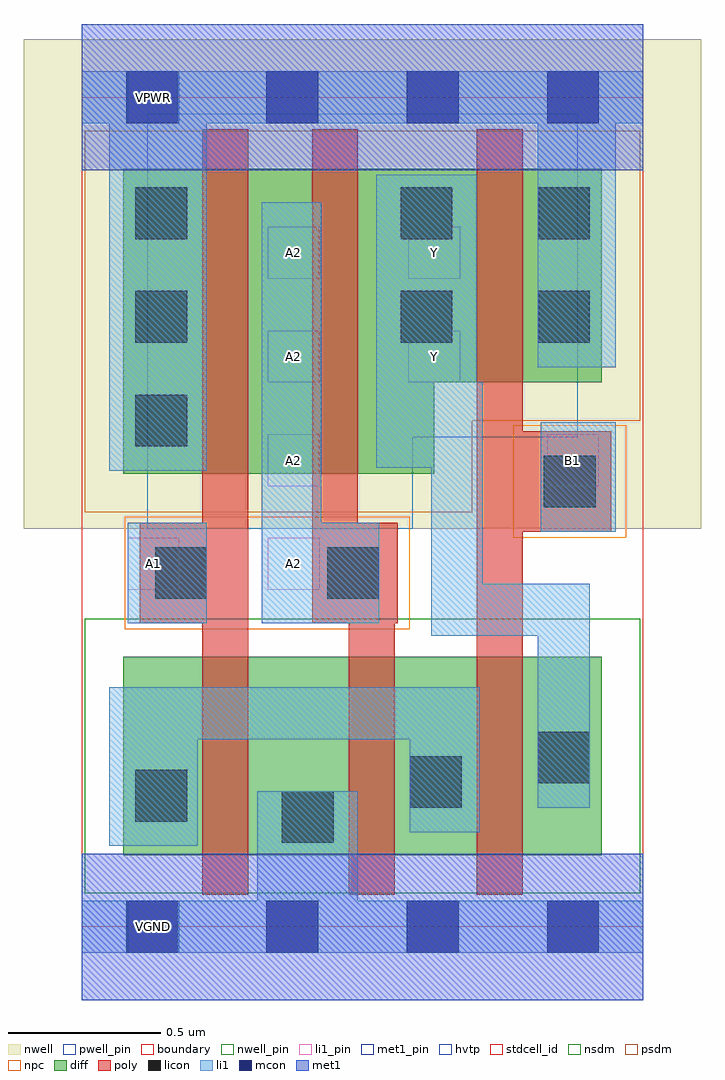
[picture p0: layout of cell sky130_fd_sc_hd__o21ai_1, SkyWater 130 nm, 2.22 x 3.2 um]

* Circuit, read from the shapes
.subckt sky130_fd_sc_hd__o21ai_1 A1 A2 B1 VGND VNB VPB VPWR Y
XM1 VGND A1 n1 VNB sky130_fd_pr__nfet_01v8 w=0.65 l=0.15
XM2 n1 A2 VGND VNB sky130_fd_pr__nfet_01v8 w=0.65 l=0.15
XM3 Y B1 n1 VNB sky130_fd_pr__nfet_01v8 w=0.65 l=0.15
XM4 n2 A1 VPWR VPB sky130_fd_pr__pfet_01v8_hvt w=1 l=0.15
XM5 Y A2 n2 VPB sky130_fd_pr__pfet_01v8_hvt w=1 l=0.15
XM6 VPWR B1 Y VPB sky130_fd_pr__pfet_01v8_hvt w=0.7 l=0.15
.ends

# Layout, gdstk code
import gdstk
lib = gdstk.Library(unit=1e-6, precision=1e-09)
def R(c, l, rs):  # rectangles x0, y0, x1, y1
    for r in rs: c.add(gdstk.rectangle(r[:2], r[2:], *l))
def A(c, l, x, y, w, h, nx, ny, dx, dy):  # array of equal rectangles
    R(c, l, [(x+i*dx, y+j*dy, x+i*dx+w, y+j*dy+h) for i in range(nx) for j in range(ny)])
nwell_pin = (64, 16)
nwell = (64, 20)
diff = (65, 20)
poly = (66, 20)
licon = (66, 44)
li1_pin = (67, 16)
li1 = (67, 20)
mcon = (67, 44)
met1_pin = (68, 16)
met1 = (68, 20)
hvtp = (78, 44)
stdcell_id = (81, 4)
nsdm = (93, 44)
psdm = (94, 20)
npc = (95, 20)
pwell_pin = (122, 16)
boundary = (235, 4)

sky130_fd_sc_hd__o21ai_1 = lib.new_cell('sky130_fd_sc_hd__o21ai_1')
R(sky130_fd_sc_hd__o21ai_1, nwell_pin, [(0.15,2.635,0.32,2.805)])
R(sky130_fd_sc_hd__o21ai_1, nwell, [(-0.19,1.305,2.03,2.91)])
R(sky130_fd_sc_hd__o21ai_1, diff, [(0.135,0.235,1.705,0.885), (0.135,1.485,1.155,1.785), (0.135,1.785,1.705,2.485)])
R(sky130_fd_sc_hd__o21ai_1, poly, [(0.395,0.105,0.545,0.995), (0.875,0.105,1.025,0.995), (1.295,0.105,1.445,1.295), (0.19,0.995,0.545,1.325), (0.755,0.995,1.035,1.325), (1.295,1.295,1.735,1.625), (0.395,1.325,0.545,2.615), (0.755,1.325,0.905,2.615), (1.295,1.625,1.445,2.615)])
A(sky130_fd_sc_hd__o21ai_1, licon, 0.175, 1.575, 0.17, 0.17, 1, 3, 0, 0.34)
R(sky130_fd_sc_hd__o21ai_1, licon, [(0.655,0.275,0.825,0.445), (0.175,0.345,0.345,0.515), (1.075,0.39,1.245,0.56), (1.495,0.47,1.665,0.64), (0.24,1.075,0.41,1.245), (0.805,1.075,0.975,1.245), (1.515,1.375,1.685,1.545), (1.045,1.915,1.215,2.085), (1.495,1.915,1.665,2.085), (1.045,2.255,1.215,2.425), (1.495,2.255,1.665,2.425)])
A(sky130_fd_sc_hd__o21ai_1, li1_pin, 0.61, 1.105, 0.17, 0.17, 1, 4, 0, 0.34)
R(sky130_fd_sc_hd__o21ai_1, li1_pin, [(0.15,1.105,0.32,1.275), (1.525,1.445,1.695,1.615), (1.07,1.785,1.24,1.955), (1.07,2.125,1.24,2.295)])
R(sky130_fd_sc_hd__o21ai_1, li1, [(0,-0.085,1.84,0.085), (0.575,0.085,0.905,0.445), (0.09,0.265,0.38,0.615), (1.075,0.31,1.305,0.615), (1.495,0.39,1.665,0.955), (0.09,0.615,1.305,0.785), (1.145,0.955,1.665,1.125), (0.15,0.995,0.41,1.325), (0.59,0.995,0.975,1.325), (1.145,1.125,1.315,1.505), (1.505,1.295,1.75,1.655), (0.59,1.325,0.785,2.375), (0.09,1.495,0.41,2.635), (0.965,1.505,1.315,1.785), (0.965,1.785,1.295,2.465), (1.495,1.835,1.75,2.635), (0,2.635,1.84,2.805)])
A(sky130_fd_sc_hd__o21ai_1, mcon, 0.145, -0.085, 0.17, 0.17, 4, 2, 0.46, 2.72)
R(sky130_fd_sc_hd__o21ai_1, met1_pin, [(0.15,-0.085,0.32,0.085), (0.15,2.635,0.32,2.805)])
R(sky130_fd_sc_hd__o21ai_1, met1, [(0,-0.24,1.84,0.24), (0,2.48,1.84,2.96)])
R(sky130_fd_sc_hd__o21ai_1, hvtp, [(0.215,1.305,1.085,1.605), (0.215,1.605,1.625,2.665)])
R(sky130_fd_sc_hd__o21ai_1, stdcell_id, [(0,0,1.84,2.72)])
R(sky130_fd_sc_hd__o21ai_1, nsdm, [(0.01,0.11,1.83,1.01)])
R(sky130_fd_sc_hd__o21ai_1, psdm, [(0.01,1.36,1.28,1.66), (0.01,1.66,1.83,2.61)])
R(sky130_fd_sc_hd__o21ai_1, npc, [(0.14,0.975,1.075,1.345), (1.415,1.275,1.785,1.645)])
R(sky130_fd_sc_hd__o21ai_1, pwell_pin, [(0.15,-0.085,0.32,0.085)])
R(sky130_fd_sc_hd__o21ai_1, boundary, [(0,0,1.84,2.72)])
sky130_fd_sc_hd__o21ai_1.add(gdstk.Label('VGND', (0.235,0), layer=68, texttype=5))
sky130_fd_sc_hd__o21ai_1.add(gdstk.Label('VPWR', (0.235,2.72), layer=68, texttype=5))
sky130_fd_sc_hd__o21ai_1.add(gdstk.Label('A2', (0.695,2.21), layer=67, texttype=5))
sky130_fd_sc_hd__o21ai_1.add(gdstk.Label('A2', (0.695,1.19), layer=67, texttype=5))
sky130_fd_sc_hd__o21ai_1.add(gdstk.Label('A2', (0.695,1.53), layer=67, texttype=5))
sky130_fd_sc_hd__o21ai_1.add(gdstk.Label('A2', (0.695,1.87), layer=67, texttype=5))
sky130_fd_sc_hd__o21ai_1.add(gdstk.Label('B1', (1.61,1.53), layer=67, texttype=5))
sky130_fd_sc_hd__o21ai_1.add(gdstk.Label('Y', (1.155,2.21), layer=67, texttype=5))
sky130_fd_sc_hd__o21ai_1.add(gdstk.Label('Y', (1.155,1.87), layer=67, texttype=5))
sky130_fd_sc_hd__o21ai_1.add(gdstk.Label('A1', (0.235,1.19), layer=67, texttype=5))
sky130_fd_sc_hd__o21ai_1.add(gdstk.Label('VPB', (0.235,2.72), layer=64, texttype=5))
sky130_fd_sc_hd__o21ai_1.add(gdstk.Label('VNB', (0.235,0), layer=64, texttype=59))

lib.write_gds('sky130_fd_sc_hd__o21ai_1.gds')
